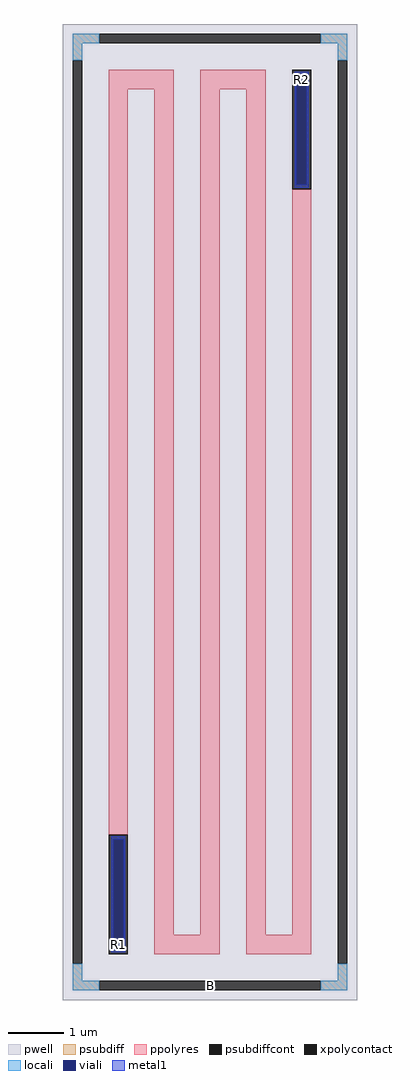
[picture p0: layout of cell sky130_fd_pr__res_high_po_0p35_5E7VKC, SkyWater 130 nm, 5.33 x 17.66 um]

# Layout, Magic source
magic
tech sky130A
magscale 1 2
<< pwell >>
rect -533 -1766 533 1766
<< psubdiff >>
rect -497 1696 -401 1730
rect 401 1696 497 1730
rect -497 1634 -463 1696
rect 463 1634 497 1696
rect -497 -1696 -463 -1634
rect 463 -1696 497 -1634
rect -497 -1730 -401 -1696
rect 401 -1730 497 -1696
<< psubdiffcont >>
rect -401 1696 401 1730
rect -497 -1634 -463 1634
rect 463 -1634 497 1634
rect -401 -1730 401 -1696
<< xpolycontact >>
rect -367 -1600 -297 -1168
rect 297 1168 367 1600
<< ppolyres >>
rect -367 1530 -131 1600
rect -367 -1168 -297 1530
rect -201 -1530 -131 1530
rect -35 1530 201 1600
rect -35 -1530 35 1530
rect -201 -1600 35 -1530
rect 131 -1530 201 1530
rect 297 -1530 367 1168
rect 131 -1600 367 -1530
<< locali >>
rect -497 1696 -401 1730
rect 401 1696 497 1730
rect -497 1634 -463 1696
rect 463 1634 497 1696
rect -497 -1696 -463 -1634
rect 463 -1696 497 -1634
rect -497 -1730 -401 -1696
rect 401 -1730 497 -1696
<< viali >>
rect 313 1185 351 1582
rect -351 -1582 -313 -1185
<< metal1 >>
rect 307 1582 357 1594
rect 307 1185 313 1582
rect 351 1185 357 1582
rect 307 1173 357 1185
rect -357 -1185 -307 -1173
rect -357 -1582 -351 -1185
rect -313 -1582 -307 -1185
rect -357 -1594 -307 -1582
<< labels >>
rlabel psubdiffcont 0 -1713 0 -1713 0 B
port 1 nsew
rlabel xpolycontact -332 -1565 -332 -1565 0 R1
port 2 nsew
rlabel xpolycontact 332 1565 332 1565 0 R2
port 3 nsew
<< properties >>
string FIXED_BBOX -480 -1713 480 1713
string gencell sky130_fd_pr__res_high_po_0p35
string library sky130
string parameters w 0.35 l 16.0 m 1 nx 5 wmin 0.350 lmin 0.50 class resistor rho 319.8 val 75.489k dummy 0 dw 0.0 term 194.82 sterm 0.0 caplen 0 guard 1 glc 1 grc 1 gtc 1 gbc 1 compatible {sky130_fd_pr__res_high_po_0p35  sky130_fd_pr__res_high_po_0p69 sky130_fd_pr__res_high_po_1p41  sky130_fd_pr__res_high_po_2p85 sky130_fd_pr__res_high_po_5p73} snake 1 full_metal 1 wmax 0.350 vias 1 n_guard 0 hv_guard 0 viagb 0 viagt 0 viagl 0 viagr 0 doports 1
<< end >>
